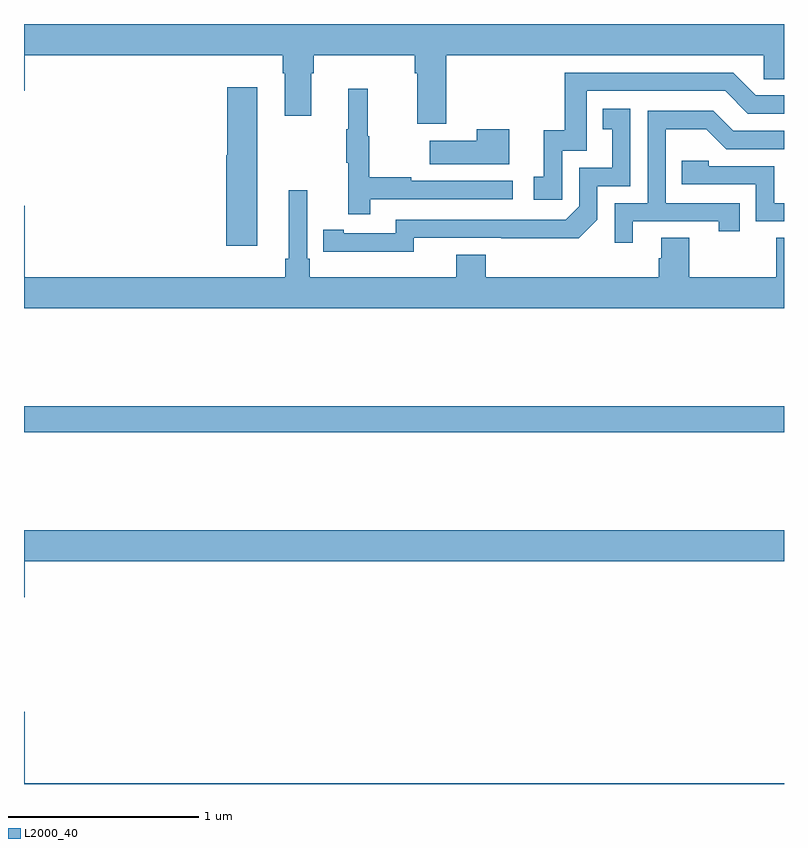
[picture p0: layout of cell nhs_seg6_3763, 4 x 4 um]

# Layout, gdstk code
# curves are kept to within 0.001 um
import gdstk
lib = gdstk.Library(unit=1e-6, precision=1e-09)
def R(c, l, rs):  # rectangles x0, y0, x1, y1
    for r in rs: c.add(gdstk.rectangle(r[:2], r[2:], *l))
def P(c, l, *ps):  # polygons
    for p in ps: c.add(gdstk.Polygon(p, *l))
L2000_40 = (2000, 40)

nhs_seg6_3763 = lib.new_cell('nhs_seg6_3763')
R(nhs_seg6_3763, L2000_40, [(333,945.352,337,945.488)])
P(nhs_seg6_3763, L2000_40, [(335.222,947.336),(336.894,947.336),(336.894,947.209),(337,947.209),(337,947.5),(333,947.5),(333,947.148),(333.004,947.148),(333.004,947.336),(334.361,947.336),(334.361,947.24),(334.373,947.24),(334.373,947.016),(334.513,947.016),(334.513,947.24),(334.526,947.24),(334.526,947.336),(335.057,947.336),(335.057,947.24),(335.069,947.24),(335.069,946.974),(335.222,946.974)],
  [(335.832,946.833),(335.961,946.833),(335.961,947.148),(336.69,947.148),(336.81,947.028),(337,947.028),(337,947.124),(336.852,947.124),(336.732,947.244),(335.845,947.244),(335.845,946.942),(335.735,946.942),(335.735,946.695),(335.682,946.695),(335.682,946.575),(335.832,946.575)],
  [(334.228,947.167),(334.07,947.167),(334.07,946.809),(334.064,946.809),(334.064,946.332),(334.228,946.332)],
  [(334.823,946.578),(335.572,946.578),(335.572,946.674),(335.039,946.674),(335.039,946.694),(334.816,946.694),(334.816,946.908),(334.808,946.908),(334.808,947.158),(334.706,947.158),(334.706,946.945),(334.695,946.945),(334.695,946.771),(334.706,946.771),(334.706,946.5),(334.823,946.5)],
  [(335.052,946.374),(335.92,946.373),(336.018,946.47),(336.018,946.647),(336.192,946.647),(336.192,947.053),(336.046,947.053),(336.046,946.947),(336.095,946.947),(336.095,946.743),(335.922,946.743),(335.922,946.542),(335.85,946.47),(334.956,946.47),(334.956,946.398),(334.684,946.398),(334.684,946.418),(334.576,946.418),(334.576,946.302),(335.052,946.301)],
  [(336.205,946.461),(336.656,946.461),(336.656,946.41),(336.767,946.41),(336.767,946.557),(336.378,946.557),(336.378,946.946),(336.592,946.946),(336.696,946.842),(337,946.842),(337,946.938),(336.733,946.938),(336.628,947.043),(336.282,947.043),(336.282,946.557),(336.108,946.557),(336.108,946.35),(336.205,946.35)],
  [(335.554,946.945),(335.384,946.945),(335.384,946.885),(335.135,946.885),(335.135,946.763),(335.554,946.763)],
  [(337,946.557),(336.948,946.557),(336.948,946.752),(336.603,946.752),(336.603,946.779),(336.463,946.779),(336.463,946.656),(336.852,946.656),(336.852,946.461),(337,946.461)],
  [(337,946.376),(336.958,946.376),(336.958,946.168),(336.501,946.168),(336.501,946.376),(336.353,946.376),(336.353,946.266),(336.341,946.266),(336.341,946.168),(335.429,946.168),(335.429,946.285),(335.276,946.285),(335.276,946.168),(334.505,946.168),(334.505,946.264),(334.491,946.264),(334.491,946.624),(334.394,946.624),(334.394,946.264),(334.375,946.264),(334.375,946.168),(333.004,946.168),(333.004,946.543),(333,946.543),(333,946.004),(337,946.004)],
  [(333.004,944.672),(337,944.672),(337,944.836),(333,944.836),(333,944.484),(333.004,944.484)],
  [(337,943.504),(333.004,943.504),(333.004,943.879),(333,943.879),(333,943.5),(337,943.5)])

lib.write_gds('nhs_seg6_3763.gds')
